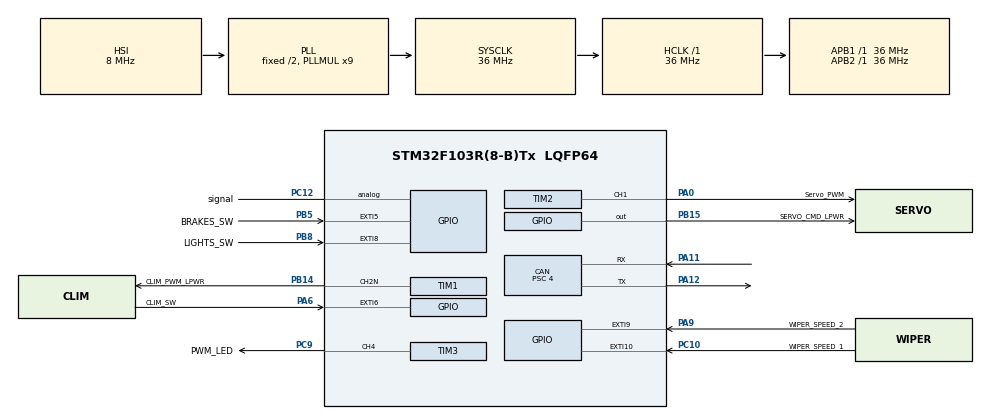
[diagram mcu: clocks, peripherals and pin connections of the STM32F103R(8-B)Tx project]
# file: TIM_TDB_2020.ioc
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CAN.BS1=CAN_BS1_12TQ
CAN.BS2=CAN_BS2_5TQ
CAN.CalculateTimeBit=2000
CAN.CalculateTimeQuantum=111.11111111111111
CAN.Prescaler=4
CAN.SJW=CAN_SJW_4TQ
Mcu.Family=STM32F1
Mcu.Name=STM32F103R(8-B)Tx
Mcu.Package=LQFP64
NVIC.CAN1_RX1_IRQn=true\:0\:0\:false\:false\:true\:true\:true
NVIC.EXTI15_10_IRQn=true\:0\:0\:false\:false\:true\:true\:true
NVIC.EXTI9_5_IRQn=true\:0\:0\:false\:false\:true\:true\:true
NVIC.PriorityGroup=NVIC_PRIORITYGROUP_4
NVIC.TIM2_IRQn=true\:0\:0\:false\:false\:true\:true\:true
NVIC.USB_HP_CAN1_TX_IRQn=true\:0\:0\:false\:false\:true\:true\:true
PA0-WKUP.GPIO_Label=Servo_PWM
PA0-WKUP.Signal=S_TIM2_CH1_ETR
PA11.Mode=Master
PA11.Signal=CAN_RX
PA12.Mode=Master
PA12.Signal=CAN_TX
PA6.GPIO_Label=CLIM_SW
PA6.GPIO_ModeDefaultEXTI=GPIO_MODE_IT_FALLING
PA6.GPIO_PuPd=GPIO_PULLUP
PA6.Signal=GPXTI6
PA9.GPIO_Label=WIPER_SPEED_2
PA9.GPIO_ModeDefaultEXTI=GPIO_MODE_IT_FALLING
PA9.GPIO_PuPd=GPIO_PULLUP
PA9.Signal=GPXTI9
PB14.GPIO_Label=CLIM_PWM_LPWR
PB14.Mode=PWM Generation2 CH2N
PB14.Signal=TIM1_CH2N
PB15.GPIO_Label=SERVO_CMD_LPWR
PB15.GPIO_PuPd=GPIO_PULLDOWN
PB15.GPIO_Speed=GPIO_SPEED_FREQ_HIGH
PB15.PinState=GPIO_PIN_SET
PB15.Signal=GPIO_Output
PB5.GPIO_Label=BRAKES_SW
PB5.GPIO_ModeDefaultEXTI=GPIO_MODE_IT_FALLING
PB5.GPIO_PuPd=GPIO_PULLUP
PB5.Signal=GPXTI5
PB8.GPIO_Label=LIGHTS_SW
PB8.GPIO_ModeDefaultEXTI=GPIO_MODE_IT_FALLING
PB8.GPIO_PuPd=GPIO_PULLUP
PB8.Signal=GPXTI8
PC10.GPIO_Label=WIPER_SPEED_1
PC10.GPIO_ModeDefaultEXTI=GPIO_MODE_IT_RISING_FALLING
PC10.GPIO_PuPd=GPIO_PULLUP
PC10.Signal=GPXTI10
PC12.GPIO_Label=signal
PC12.Signal=GPIO_Analog
PC9.GPIO_Label=PWM_LED
PC9.Signal=S_TIM3_CH4
ProjectManager.HeapSize=0x200
ProjectManager.StackSize=0x400
ProjectManager.TargetToolchain=STM32CubeIDE
RCC.AHBFreq_Value=36000000
RCC.APB1Freq_Value=36000000
RCC.APB1TimFreq_Value=36000000
RCC.APB2Freq_Value=36000000
RCC.APB2TimFreq_Value=36000000
RCC.HCLKFreq_Value=36000000
RCC.PLLMUL=RCC_PLL_MUL9
RCC.SYSCLKFreq_VALUE=36000000
RCC.SYSCLKSource=RCC_SYSCLKSOURCE_PLLCLK
RCC.USBFreq_Value=36000000
SH.S_TIM2_CH1_ETR.0=TIM2_CH1,PWM Generation1 CH1
SH.S_TIM3_CH4.0=TIM3_CH4,PWM Generation4 CH4
TIM1.Channel-PWM\ Generation2\ CH2N=TIM_CHANNEL_2
TIM1.Period=1000-1
TIM1.Prescaler=36000-1
TIM1.Pulse-PWM\ Generation2\ CH2N=500
TIM2.Channel-PWM\ Generation1\ CH1=TIM_CHANNEL_1
TIM2.Period=2000-1
TIM2.Prescaler=360-1
TIM2.Pulse-PWM\ Generation1\ CH1=100
TIM3.Channel-PWM\ Generation4\ CH4=TIM_CHANNEL_4
TIM3.Period=2000-1
TIM3.Prescaler=360-1
TIM3.Pulse-PWM\ Generation4\ CH4=1000
VP_SYS_VS_ND.Mode=No_Debug
VP_TIM1_VS_ClockSourceINT.Mode=Internal
VP_TIM2_VS_ClockSourceINT.Mode=Internal
VP_TIM3_VS_ClockSourceINT.Mode=Internal
board=custom

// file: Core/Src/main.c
/* USER CODE BEGIN Header */
/**
  ******************************************************************************
  * @file           : main.c
  * @brief          : Main program body
  ******************************************************************************
  * @attention
  *
  * <h2><center>&copy; Copyright (c) 2020 STMicroelectronics.
  * All rights reserved.</center></h2>
  *
  * This software component is licensed by ST under BSD 3-Clause license,
  * the "License"; You may not use this file except in compliance with the
  * License. You may obtain a copy of the License at:
  *                        opensource.org/licenses/BSD-3-Clause
  *
  ******************************************************************************
  */
/* USER CODE END Header */

#include "main.h"
#include "can.h"
#include "tim.h"
#include "gpio.h"

/* USER CODE BEGIN Includes */
 #include "USER_CAN_DATA.h"
 #include <stm32f1xx_hal.h>
/* USER CODE END Includes */

void SystemClock_Config(void);
/* USER CODE BEGIN PFP */

void LedIDLE(void );
void Clim_controler(void);

/* USER CODE END PFP */

/* USER CODE BEGIN 0 */

int mode = 0;
int Servo_flag =0;
int clim_enable;

/* USER CODE END 0 */

int main(void)
{

  /* MCU Configuration--------------------------------------------------------*/

  /* Reset of all peripherals, Initializes the Flash interface and the Systick. */
  HAL_Init();

  /* Configure the system clock */
  SystemClock_Config();

  /* Initialize all configured peripherals */
  MX_GPIO_Init();
  MX_CAN_Init();
  MX_TIM2_Init();
  MX_TIM3_Init();
  MX_TIM1_Init();
  /* USER CODE BEGIN 2 */
	HAL_CAN_Init(&hcan);
  HAL_CAN_Start(&hcan);
	//extern TIM_HandleTypeDef htim2;
	//extern TIM_HandleTypeDef htim1;

  /* USER CODE END 2 */

  /* Infinite loop */
  /* USER CODE BEGIN WHILE */
	CAN_TxHeaderTypeDef TxHeader;
	TxHeader.DLC = AT07_LIGHTS_LENGTH;
	TxHeader.ExtId = AT07_LIGHTS_CMD<<16;
	TxHeader.IDE = CAN_ID_EXT;
	TxHeader.RTR = CAN_RTR_DATA;
	TxHeader.StdId = AT07_LIGHTS_CMD;
	TxHeader.TransmitGlobalTime = DISABLE;

	uint32_t TxMail ;
	uint8_t Data[8] = {0};
	uint8_t donnee=0x01;
	Data[0]=donnee;

	HAL_CAN_AddTxMessage(&hcan,&TxHeader,Data, &TxMail);
	HAL_Delay(500);

	HAL_TIM_PWM_Init(&htim2);
	htim2.Instance->CCR1 = 1000;

	htim3.Instance->CCR1 = 1000;
	HAL_TIM_PWM_Start(&htim3,TIM_CHANNEL_4);

	//htim1.Instance->

  while (1)
  {
    /* USER CODE END WHILE */

    /* USER CODE BEGIN 3 */

		HAL_Delay(500);

	}
  /* USER CODE END 3 */
}

void SystemClock_Config(void)
{
  RCC_OscInitTypeDef RCC_OscInitStruct = {0};
  RCC_ClkInitTypeDef RCC_ClkInitStruct = {0};

  /** Initializes the CPU, AHB and APB busses clocks
  */
  RCC_OscInitStruct.OscillatorType = RCC_OSCILLATORTYPE_HSI;
  RCC_OscInitStruct.HSIState = RCC_HSI_ON;
  RCC_OscInitStruct.HSICalibrationValue = RCC_HSICALIBRATION_DEFAULT;
  RCC_OscInitStruct.PLL.PLLState = RCC_PLL_ON;
  RCC_OscInitStruct.PLL.PLLSource = RCC_PLLSOURCE_HSI_DIV2;
  RCC_OscInitStruct.PLL.PLLMUL = RCC_PLL_MUL9;
  if (HAL_RCC_OscConfig(&RCC_OscInitStruct) != HAL_OK)
  {
    Error_Handler();
  }
  /** Initializes the CPU, AHB and APB busses clocks
  */
  RCC_ClkInitStruct.ClockType = RCC_CLOCKTYPE_HCLK|RCC_CLOCKTYPE_SYSCLK
                              |RCC_CLOCKTYPE_PCLK1|RCC_CLOCKTYPE_PCLK2;
  RCC_ClkInitStruct.SYSCLKSource = RCC_SYSCLKSOURCE_PLLCLK;
  RCC_ClkInitStruct.AHBCLKDivider = RCC_SYSCLK_DIV1;
  RCC_ClkInitStruct.APB1CLKDivider = RCC_HCLK_DIV1;
  RCC_ClkInitStruct.APB2CLKDivider = RCC_HCLK_DIV1;

  if (HAL_RCC_ClockConfig(&RCC_ClkInitStruct, FLASH_LATENCY_1) != HAL_OK)
  {
    Error_Handler();
  }
}

/* USER CODE BEGIN 4 */

/*void LedIDLE(void ){
	HAL_GPIO_TogglePin(LED_GPIO_Port,LED_Pin);
}*/
void Clim_controler(void){
	HAL_GPIO_TogglePin(CLIM_CMD_LPWR_GPIO_Port,CLIM_CMD_LPWR_Pin);
}
/* USER CODE END 4 */

void Error_Handler(void)
{
}

/************************ (C) COPYRIGHT STMicroelectronics *****END OF FILE****/
